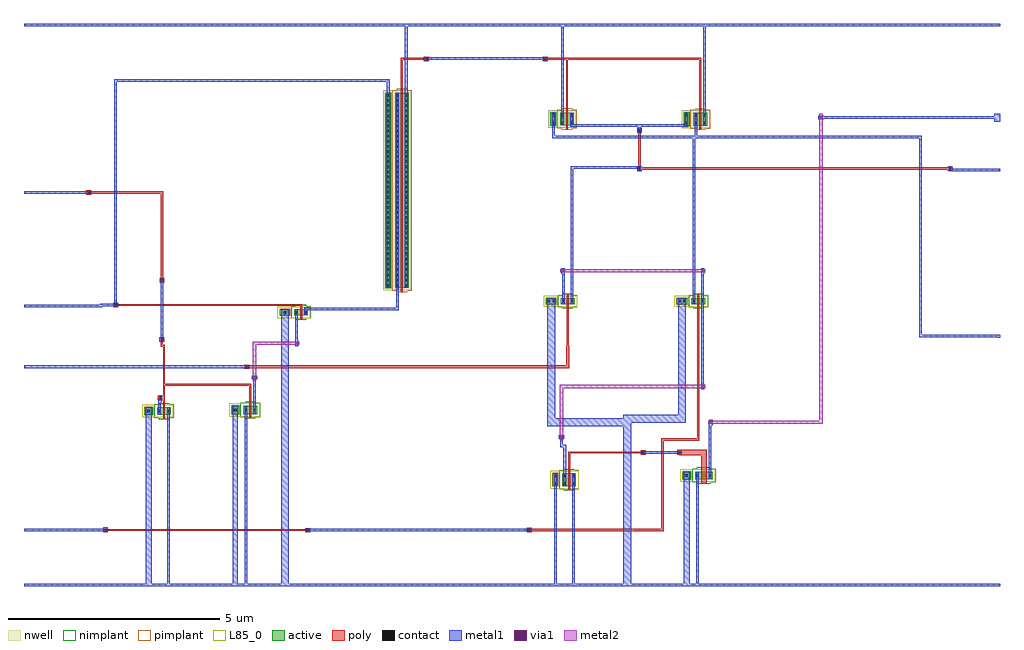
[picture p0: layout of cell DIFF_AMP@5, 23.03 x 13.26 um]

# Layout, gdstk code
import gdstk
lib = gdstk.Library(unit=1e-6, precision=5e-10)
def R(c, l, rs):  # rectangles x0, y0, x1, y1
    for r in rs: c.add(gdstk.rectangle(r[:2], r[2:], *l))
def A(c, l, x, y, w, h, nx, ny, dx, dy):  # array of equal rectangles
    R(c, l, [(x+i*dx, y+j*dy, x+i*dx+w, y+j*dy+h) for i in range(nx) for j in range(ny)])
active = (1, 0)
nwell = (2, 0)
poly = (3, 0)
nimplant = (4, 0)
pimplant = (5, 0)
contact = (6, 0)
metal1 = (7, 0)
via1 = (8, 0)
metal2 = (9, 0)
L85_0 = (85, 0)

nmos1v_cdns_787421419580 = lib.new_cell('nmos1v_CDNS_787421419580')
R(nmos1v_cdns_787421419580, active, [(-0.36,0,-0.24,0.3), (-0.14,0,0,0.3), (0,0,0.045,0.3), (0.045,0,0.185,0.3)])
R(nmos1v_cdns_787421419580, poly, [(0,-0.1,0.045,-0.05), (0,-0.05,0.045,0), (0,0,0.045,0.3), (0,0.3,0.045,0.35), (0,0.35,0.045,0.4)])
R(nmos1v_cdns_787421419580, nimplant, [(-0.1,-0.1,0.145,0.4), (-0.21,-0.07,0.255,0.37)])
R(nmos1v_cdns_787421419580, pimplant, [(-0.37,-0.01,-0.23,0.31)])
R(nmos1v_cdns_787421419580, contact, [(-0.33,0.03,-0.27,0.09), (-0.11,0.03,-0.05,0.09), (0.095,0.03,0.155,0.09), (-0.33,0.21,-0.27,0.27), (-0.11,0.21,-0.05,0.27), (0.095,0.21,0.155,0.27)])
R(nmos1v_cdns_787421419580, metal1, [(-0.33,0,-0.27,0.3), (-0.11,0,-0.05,0.3), (0.095,0,0.155,0.3)])
R(nmos1v_cdns_787421419580, L85_0, [(-0.42,-0.06,0.245,0.36)])

nmos1v_cdns_787421419581 = lib.new_cell('nmos1v_CDNS_787421419581')
R(nmos1v_cdns_787421419581, active, [(-0.485,0,-0.24,0.145), (-0.14,0,0,0.145), (0,0,0.045,0.145), (0.045,0,0.185,0.145)])
R(nmos1v_cdns_787421419581, poly, [(0,-0.1,0.045,-0.05), (0,-0.05,0.045,0), (0,0,0.045,0.145), (0,0.145,0.045,0.195), (0,0.195,0.045,0.245)])
R(nmos1v_cdns_787421419581, nimplant, [(-0.1,-0.1,0.145,0.245), (-0.21,-0.07,0.255,0.215)])
R(nmos1v_cdns_787421419581, pimplant, [(-0.495,-0.01,-0.23,0.155)])
R(nmos1v_cdns_787421419581, contact, [(-0.455,0.045,-0.395,0.105), (-0.33,0.045,-0.27,0.105), (-0.11,0.045,-0.05,0.105), (0.095,0.045,0.155,0.105)])
R(nmos1v_cdns_787421419581, metal1, [(-0.455,0,-0.27,0.145), (-0.11,0,-0.05,0.145), (0.095,0,0.155,0.145)])
R(nmos1v_cdns_787421419581, L85_0, [(-0.545,-0.06,0.245,0.205)])

nmos1v_cdns_787421419582 = lib.new_cell('nmos1v_CDNS_787421419582')
R(nmos1v_cdns_787421419582, active, [(-0.415,0,-0.24,0.2), (-0.14,0,0,0.2), (0,0,0.045,0.2), (0.045,0,0.185,0.2)])
R(nmos1v_cdns_787421419582, poly, [(0,-0.1,0.045,-0.05), (0,-0.05,0.045,0), (0,0,0.045,0.2), (0,0.2,0.045,0.25), (0,0.25,0.045,0.3)])
R(nmos1v_cdns_787421419582, nimplant, [(-0.1,-0.1,0.145,0.3), (-0.21,-0.07,0.255,0.27)])
R(nmos1v_cdns_787421419582, pimplant, [(-0.425,-0.01,-0.23,0.21)])
R(nmos1v_cdns_787421419582, contact, [(-0.36,0.07,-0.3,0.13), (-0.11,0.07,-0.05,0.13), (0.095,0.07,0.155,0.13)])
R(nmos1v_cdns_787421419582, metal1, [(-0.385,0,-0.27,0.2), (-0.11,0,-0.05,0.2), (0.095,0,0.155,0.2)])
R(nmos1v_cdns_787421419582, L85_0, [(-0.475,-0.06,0.245,0.26)])

nmos1v_cdns_787421419583 = lib.new_cell('nmos1v_CDNS_787421419583')
R(nmos1v_cdns_787421419583, active, [(-0.475,0,-0.24,0.15), (-0.14,0,0,0.15), (0,0,0.045,0.15), (0.045,0,0.185,0.15)])
R(nmos1v_cdns_787421419583, poly, [(0,-0.1,0.045,-0.05), (0,-0.05,0.045,0), (0,0,0.045,0.15), (0,0.15,0.045,0.2), (0,0.2,0.045,0.25)])
R(nmos1v_cdns_787421419583, nimplant, [(-0.1,-0.1,0.145,0.25), (-0.21,-0.07,0.255,0.22)])
R(nmos1v_cdns_787421419583, pimplant, [(-0.485,-0.01,-0.23,0.16)])
R(nmos1v_cdns_787421419583, contact, [(-0.39,0.045,-0.33,0.105), (-0.11,0.045,-0.05,0.105), (0.095,0.045,0.155,0.105)])
R(nmos1v_cdns_787421419583, metal1, [(-0.445,0,-0.27,0.15), (-0.11,0,-0.05,0.15), (0.095,0,0.155,0.15)])
R(nmos1v_cdns_787421419583, L85_0, [(-0.535,-0.06,0.245,0.21)])

nmos1v_cdns_787421419584 = lib.new_cell('nmos1v_CDNS_787421419584')
R(nmos1v_cdns_787421419584, active, [(-0.435,0,-0.24,0.18), (-0.14,0,0,0.18), (0,0,0.135,0.18), (0.135,0,0.275,0.18)])
R(nmos1v_cdns_787421419584, poly, [(0,-0.1,0.135,-0.05), (0,-0.05,0.135,0), (0,0,0.135,0.18), (0,0.18,0.135,0.23), (0,0.23,0.135,0.28)])
R(nmos1v_cdns_787421419584, nimplant, [(-0.1,-0.1,0.235,0.28), (-0.21,-0.07,0.345,0.25)])
R(nmos1v_cdns_787421419584, pimplant, [(-0.445,-0.01,-0.23,0.19)])
R(nmos1v_cdns_787421419584, contact, [(-0.37,0.06,-0.31,0.12), (-0.11,0.06,-0.05,0.12), (0.185,0.06,0.245,0.12)])
R(nmos1v_cdns_787421419584, metal1, [(-0.405,0,-0.27,0.18), (-0.11,0,-0.05,0.18), (0.185,0,0.245,0.18)])
R(nmos1v_cdns_787421419584, L85_0, [(-0.495,-0.06,0.335,0.24)])

nmos1v_cdns_787421419585 = lib.new_cell('nmos1v_CDNS_787421419585')
R(nmos1v_cdns_787421419585, active, [(-0.435,0,-0.24,0.18), (-0.14,0,0,0.18), (0,0,0.045,0.18), (0.045,0,0.185,0.18)])
R(nmos1v_cdns_787421419585, poly, [(0,-0.1,0.045,-0.05), (0,-0.05,0.045,0), (0,0,0.045,0.18), (0,0.18,0.045,0.23), (0,0.23,0.045,0.28)])
R(nmos1v_cdns_787421419585, nimplant, [(-0.1,-0.1,0.145,0.28), (-0.21,-0.07,0.255,0.25)])
R(nmos1v_cdns_787421419585, pimplant, [(-0.445,-0.01,-0.23,0.19)])
R(nmos1v_cdns_787421419585, contact, [(-0.37,0.06,-0.31,0.12), (-0.11,0.06,-0.05,0.12), (0.095,0.06,0.155,0.12)])
R(nmos1v_cdns_787421419585, metal1, [(-0.405,0,-0.27,0.18), (-0.11,0,-0.05,0.18), (0.095,0,0.155,0.18)])
R(nmos1v_cdns_787421419585, L85_0, [(-0.495,-0.06,0.245,0.24)])

pmos1v_cdns_787421419586 = lib.new_cell('pmos1v_CDNS_787421419586')
R(pmos1v_cdns_787421419586, active, [(-0.36,0,-0.24,4.6), (-0.14,0,0,4.6), (0,0,0.045,4.6), (0.045,0,0.185,4.6)])
R(pmos1v_cdns_787421419586, nwell, [(-0.42,-0.06,0.245,4.66)])
R(pmos1v_cdns_787421419586, poly, [(0,-0.1,0.045,-0.05), (0,-0.05,0.045,0), (0,0,0.045,4.6), (0,4.6,0.045,4.65), (0,4.65,0.045,4.7)])
R(pmos1v_cdns_787421419586, nimplant, [(-0.37,-0.01,-0.23,4.61)])
R(pmos1v_cdns_787421419586, pimplant, [(-0.1,-0.1,0.145,4.7), (-0.21,-0.07,0.255,4.67)])
A(pmos1v_cdns_787421419586, contact, -0.33, 0.03, 0.06, 0.06, 1, 9, 0, 0.125)
A(pmos1v_cdns_787421419586, contact, -0.11, 0.03, 0.06, 0.06, 1, 9, 0, 0.125)
A(pmos1v_cdns_787421419586, contact, 0.095, 0.03, 0.06, 0.06, 1, 9, 0, 0.125)
A(pmos1v_cdns_787421419586, contact, -0.33, 1.15, 0.06, 0.06, 1, 29, 0, 0.12)
A(pmos1v_cdns_787421419586, contact, -0.11, 1.15, 0.06, 0.06, 1, 29, 0, 0.12)
A(pmos1v_cdns_787421419586, contact, 0.095, 1.15, 0.06, 0.06, 1, 29, 0, 0.12)
R(pmos1v_cdns_787421419586, metal1, [(-0.33,0,-0.27,4.6), (-0.11,0,-0.05,4.6), (0.095,0,0.155,4.6)])

pmos1v_cdns_787421419587 = lib.new_cell('pmos1v_CDNS_787421419587')
R(pmos1v_cdns_787421419587, active, [(-0.36,0,-0.24,0.3), (-0.14,0,0,0.3), (0,0,0.045,0.3), (0.045,0,0.185,0.3)])
R(pmos1v_cdns_787421419587, nwell, [(-0.42,-0.06,0.245,0.36)])
R(pmos1v_cdns_787421419587, poly, [(0,-0.1,0.045,-0.05), (0,-0.05,0.045,0), (0,0,0.045,0.3), (0,0.3,0.045,0.35), (0,0.35,0.045,0.4)])
R(pmos1v_cdns_787421419587, nimplant, [(-0.37,-0.01,-0.23,0.31)])
R(pmos1v_cdns_787421419587, pimplant, [(-0.1,-0.1,0.145,0.4), (-0.21,-0.07,0.255,0.37)])
R(pmos1v_cdns_787421419587, contact, [(-0.33,0.03,-0.27,0.09), (-0.11,0.03,-0.05,0.09), (0.095,0.03,0.155,0.09), (-0.33,0.21,-0.27,0.27), (-0.11,0.21,-0.05,0.27), (0.095,0.21,0.155,0.27)])
R(pmos1v_cdns_787421419587, metal1, [(-0.33,0,-0.27,0.3), (-0.11,0,-0.05,0.3), (0.095,0,0.155,0.3)])

m1_po_cdns_787421419580 = lib.new_cell('M1_PO_CDNS_787421419580')
R(m1_po_cdns_787421419580, poly, [(-0.05,-0.06,0.05,0.06)])
R(m1_po_cdns_787421419580, contact, [(-0.03,-0.03,0.03,0.03)])
R(m1_po_cdns_787421419580, metal1, [(-0.03,-0.06,0.03,0.06)])

m1_po_cdns_787421419581 = lib.new_cell('M1_PO_CDNS_787421419581')
R(m1_po_cdns_787421419581, poly, [(-0.06,-0.05,0.06,0.05)])
R(m1_po_cdns_787421419581, contact, [(-0.03,-0.03,0.03,0.03)])
R(m1_po_cdns_787421419581, metal1, [(-0.03,-0.06,0.03,0.06)])

m1_po_cdns_787421419582 = lib.new_cell('M1_PO_CDNS_787421419582')
R(m1_po_cdns_787421419582, poly, [(-0.05,-0.06,0.05,0.06)])
R(m1_po_cdns_787421419582, contact, [(-0.03,-0.03,0.03,0.03)])
R(m1_po_cdns_787421419582, metal1, [(-0.06,-0.03,0.06,0.03)])

m1_po_cdns_787421419583 = lib.new_cell('M1_PO_CDNS_787421419583')
R(m1_po_cdns_787421419583, poly, [(-0.06,-0.05,0.06,0.05)])
R(m1_po_cdns_787421419583, contact, [(-0.03,-0.03,0.03,0.03)])
R(m1_po_cdns_787421419583, metal1, [(-0.06,-0.03,0.06,0.03)])

m1_po_cdns_787421419584 = lib.new_cell('M1_PO_CDNS_787421419584')
R(m1_po_cdns_787421419584, poly, [(-0.055,-0.06,0.045,0.06)])
R(m1_po_cdns_787421419584, contact, [(-0.035,-0.03,0.025,0.03)])
R(m1_po_cdns_787421419584, metal1, [(-0.065,-0.03,0.055,0.03)])

m1_po_cdns_787421419585 = lib.new_cell('M1_PO_CDNS_787421419585')
R(m1_po_cdns_787421419585, poly, [(-0.06,-0.055,0.06,0.045)])
R(m1_po_cdns_787421419585, contact, [(-0.03,-0.035,0.03,0.025)])
R(m1_po_cdns_787421419585, metal1, [(-0.06,-0.035,0.06,0.03)])

m2_m1_cdns_787421419586 = lib.new_cell('M2_M1_CDNS_787421419586')
R(m2_m1_cdns_787421419586, metal1, [(-0.065,-0.04,0.065,0.04)])
R(m2_m1_cdns_787421419586, via1, [(-0.035,-0.035,0.035,0.035)])
R(m2_m1_cdns_787421419586, metal2, [(-0.04,-0.065,0.04,0.065)])

m2_m1_cdns_787421419587 = lib.new_cell('M2_M1_CDNS_787421419587')
R(m2_m1_cdns_787421419587, metal1, [(-0.04,-0.065,0.04,0.065)])
R(m2_m1_cdns_787421419587, via1, [(-0.035,-0.035,0.035,0.035)])
R(m2_m1_cdns_787421419587, metal2, [(-0.065,-0.04,0.065,0.04)])

diff_amp_5 = lib.new_cell('DIFF_AMP@5')
R(diff_amp_5, metal1, [(0,0,23.03,0.06), (0,1.295,0.06,1.355), (0,5.145,0.06,5.205), (22.97,5.87,23.03,5.93), (0,6.575,0.06,6.635), (0,9.255,0.06,9.315), (22.97,9.79,23.03,9.85), (22.895,10.955,23.03,11.15), (0,13.205,23.03,13.265)])
diff_amp_5.add(gdstk.FlexPath([(8.9175,12.4425),(9.495,12.4425)], 0.045, ends=(0.0225, 0), simple_path=True, layer=3, datatype=0))  # poly
diff_amp_5.add(gdstk.FlexPath([(8.9175,11.735),(8.9175,12.4425)], 0.045, ends=(0, 0.0225), simple_path=True, layer=3, datatype=0))  # poly
diff_amp_5.add(gdstk.FlexPath([(16.0425,2.8),(16.0425,3.1525)], 0.135, ends=(0, 0.0675), simple_path=True, layer=3, datatype=0))  # poly
diff_amp_5.add(gdstk.FlexPath([(16.0425,3.1525),(15.465,3.1525)], 0.135, ends=(0.0675, 0), simple_path=True, layer=3, datatype=0))  # poly
diff_amp_5.add(gdstk.FlexPath([(12.8625,3.1525),(14.61,3.1525)], 0.045, ends=(0.0225, 0), simple_path=True, layer=3, datatype=0))  # poly
diff_amp_5.add(gdstk.FlexPath([(12.8625,2.76),(12.8625,3.1525)], 0.045, ends=(0, 0.0225), simple_path=True, layer=3, datatype=0))  # poly
diff_amp_5.add(gdstk.FlexPath([(3.3025,4.32),(3.3025,4.44)], 0.045, ends=(0, 0.03), simple_path=True, layer=3, datatype=0))  # poly
diff_amp_5.add(gdstk.FlexPath([(3.2,4.44),(3.3025,4.44)], 0.06, ends=(0, 0.0225), simple_path=True, layer=3, datatype=0))  # poly
diff_amp_5.add(gdstk.FlexPath([(3.3025,4.44),(3.3025,4.7475)], 0.045, ends=(0.03, 0.0225), simple_path=True, layer=3, datatype=0))  # poly
diff_amp_5.add(gdstk.FlexPath([(5.3375,4.7475),(3.3025,4.7475)], 0.045, ends="extended", simple_path=True, layer=3, datatype=0))  # poly
diff_amp_5.add(gdstk.FlexPath([(5.3375,4.355),(5.3375,4.7475)], 0.045, ends=(0, 0.0225), simple_path=True, layer=3, datatype=0))  # poly
diff_amp_5.add(gdstk.FlexPath([(3.2525,5.6675),(3.2525,5.82)], 0.045, ends=(0.0225, 0), simple_path=True, layer=3, datatype=0))  # poly
diff_amp_5.add(gdstk.FlexPath([(3.3025,5.6675),(3.2525,5.6675)], 0.045, ends="extended", simple_path=True, layer=3, datatype=0))  # poly
diff_amp_5.add(gdstk.FlexPath([(3.3025,4.7475),(3.3025,5.6675)], 0.045, ends="extended", simple_path=True, layer=3, datatype=0))  # poly
diff_amp_5.add(gdstk.FlexPath([(3.255,7.215),(3.255,9.285)], 0.06, ends=(0, 0.03), simple_path=True, layer=3, datatype=0))  # poly
diff_amp_5.add(gdstk.FlexPath([(3.255,9.285),(1.53,9.285)], 0.06, ends=(0.03, 0), simple_path=True, layer=3, datatype=0))  # poly
diff_amp_5.add(gdstk.FlexPath([(1.925,1.3225),(6.695,1.3225)], 0.045, ends="flush", simple_path=True, layer=3, datatype=0))  # poly
diff_amp_5.add(gdstk.FlexPath([(15.9125,3.46),(15.065,3.46)], 0.06, ends=(0.0225, 0.03), simple_path=True, layer=3, datatype=0))  # poly
diff_amp_5.add(gdstk.FlexPath([(15.065,1.325),(11.92,1.325)], 0.06, ends=(0.03, 0), simple_path=True, layer=3, datatype=0))  # poly
diff_amp_5.add(gdstk.FlexPath([(15.065,3.46),(15.065,1.325)], 0.06, ends="extended", simple_path=True, layer=3, datatype=0))  # poly
diff_amp_5.add(gdstk.FlexPath([(15.9125,6.55),(15.9125,3.46)], 0.045, ends=(0, 0.03), simple_path=True, layer=3, datatype=0))  # poly
diff_amp_5.add(gdstk.FlexPath([(12.8275,6.55),(12.8275,5.67)], 0.045, ends="flush", simple_path=True, layer=3, datatype=0))  # poly
diff_amp_5.add(gdstk.FlexPath([(12.83,5.67),(12.83,5.175)], 0.06, ends=(0, 0.03), simple_path=True, layer=3, datatype=0))  # poly
diff_amp_5.add(gdstk.FlexPath([(12.83,5.175),(5.26,5.175)], 0.06, ends=(0.03, 0), simple_path=True, layer=3, datatype=0))  # poly
diff_amp_5.add(gdstk.FlexPath([(2.165,6.6325),(6.54,6.6325)], 0.045, ends=(0, 0.02), simple_path=True, layer=3, datatype=0))  # poly
diff_amp_5.add(gdstk.FlexPath([(15.9575,12.4425),(12.8125,12.4425)], 0.045, ends="extended", simple_path=True, layer=3, datatype=0))  # poly
diff_amp_5.add(gdstk.FlexPath([(15.9575,11.265),(15.9575,12.4425)], 0.045, ends=(0, 0.0225), simple_path=True, layer=3, datatype=0))  # poly
diff_amp_5.add(gdstk.FlexPath([(12.8125,12.4425),(12.8125,11.27)], 0.045, ends=(0.0225, 0), simple_path=True, layer=3, datatype=0))  # poly
diff_amp_5.add(gdstk.FlexPath([(12.8125,12.4425),(12.295,12.4425)], 0.045, ends=(0.0225, 0), simple_path=True, layer=3, datatype=0))  # poly
diff_amp_5.add(gdstk.FlexPath([(14.525,9.85),(14.525,10.755)], 0.06, ends="flush", simple_path=True, layer=3, datatype=0))  # poly
diff_amp_5.add(gdstk.FlexPath([(21.855,9.85),(14.525,9.85)], 0.06, ends=(0, 0.03), simple_path=True, layer=3, datatype=0))  # poly
diff_amp_5.add(gdstk.FlexPath([(2.16,6.635),(2.165,6.635)], 0.06, ends=(0.03, 0), simple_path=True, layer=7, datatype=0))  # metal1
diff_amp_5.add(gdstk.FlexPath([(2.16,6.925),(2.16,6.635)], 0.06, ends="extended", simple_path=True, layer=7, datatype=0))  # metal1
diff_amp_5.add(gdstk.FlexPath([(1.82,6.635),(2.16,6.635)], 0.06, ends="extended", simple_path=True, layer=7, datatype=0))  # metal1
diff_amp_5.add(gdstk.FlexPath([(1.82,6.605),(1.82,6.635)], 0.06, ends="extended", simple_path=True, layer=7, datatype=0))  # metal1
diff_amp_5.add(gdstk.FlexPath([(2.16,6.925),(2.17,6.925)], 0.06, ends=(0.03, 0), simple_path=True, layer=7, datatype=0))  # metal1
diff_amp_5.add(gdstk.FlexPath([(3.225,4.44),(3.22,4.44)], 0.06, ends=(0.03, 0), simple_path=True, layer=7, datatype=0))  # metal1
diff_amp_5.add(gdstk.FlexPath([(3.225,4.37),(3.225,4.44)], 0.06, ends="extended", simple_path=True, layer=7, datatype=0))  # metal1
diff_amp_5.add(gdstk.FlexPath([(3.2,4.37),(3.225,4.37)], 0.06, ends="extended", simple_path=True, layer=7, datatype=0))  # metal1
diff_amp_5.add(gdstk.FlexPath([(12.685,3.305),(12.685,3.515)], 0.06, ends=(0.03, 0), simple_path=True, layer=7, datatype=0))  # metal1
diff_amp_5.add(gdstk.FlexPath([(12.76,3.305),(12.685,3.305)], 0.06, ends="extended", simple_path=True, layer=7, datatype=0))  # metal1
diff_amp_5.add(gdstk.FlexPath([(12.76,2.66),(12.76,3.305)], 0.06, ends=(0, 0.03), simple_path=True, layer=7, datatype=0))  # metal1
diff_amp_5.add(gdstk.FlexPath([(16.015,4.71),(16.015,6.65)], 0.06, ends="flush", simple_path=True, layer=7, datatype=0))  # metal1
diff_amp_5.add(gdstk.FlexPath([(12.725,7.44),(12.715,7.44)], 0.06, ends=(0.03, 0), simple_path=True, layer=7, datatype=0))  # metal1
diff_amp_5.add(gdstk.FlexPath([(12.725,6.795),(12.725,7.44)], 0.06, ends=(0, 0.03), simple_path=True, layer=7, datatype=0))  # metal1
diff_amp_5.add(gdstk.FlexPath([(16.015,7.44),(16.015,6.795)], 0.06, ends="flush", simple_path=True, layer=7, datatype=0))  # metal1
diff_amp_5.add(gdstk.FlexPath([(5.44,4.255),(5.44,4.92)], 0.06, ends="flush", simple_path=True, layer=7, datatype=0))  # metal1
diff_amp_5.add(gdstk.FlexPath([(6.435,5.73),(6.435,6.385)], 0.06, ends="flush", simple_path=True, layer=7, datatype=0))  # metal1
diff_amp_5.add(gdstk.FlexPath([(8.815,6.535),(8.815,7.035)], 0.06, ends=(0.03, 0), simple_path=True, layer=7, datatype=0))  # metal1
diff_amp_5.add(gdstk.FlexPath([(16.19,3.865),(16.17,3.865)], 0.06, ends=(0.03, 0), simple_path=True, layer=7, datatype=0))  # metal1
diff_amp_5.add(gdstk.FlexPath([(16.19,2.7),(16.19,3.865)], 0.06, ends=(0, 0.03), simple_path=True, layer=7, datatype=0))  # metal1
diff_amp_5.add(gdstk.FlexPath([(22.895,11.055),(18.805,11.055)], 0.06, ends="flush", simple_path=True, layer=7, datatype=0))  # metal1
diff_amp_5.add(gdstk.FlexPath([(14.61,3.155),(15.465,3.155)], 0.06, ends="flush", simple_path=True, layer=7, datatype=0))  # metal1
diff_amp_5.add(gdstk.FlexPath([(3.2,4.22),(3.2,4.37)], 0.06, ends=(0, 0.03), simple_path=True, layer=7, datatype=0))  # metal1
diff_amp_5.add(gdstk.FlexPath([(3.255,5.82),(3.255,7.215)], 0.06, ends="flush", simple_path=True, layer=7, datatype=0))  # metal1
diff_amp_5.add(gdstk.FlexPath([(1.53,9.285),(0.03,9.285)], 0.06, ends="flush", simple_path=True, layer=7, datatype=0))  # metal1
diff_amp_5.add(gdstk.FlexPath([(11.92,1.325),(6.695,1.325)], 0.06, ends="flush", simple_path=True, layer=7, datatype=0))  # metal1
diff_amp_5.add(gdstk.FlexPath([(0.06,1.325),(1.925,1.325)], 0.06, ends="flush", simple_path=True, layer=7, datatype=0))  # metal1
diff_amp_5.add(gdstk.FlexPath([(5.26,5.175),(0.06,5.175)], 0.06, ends="flush", simple_path=True, layer=7, datatype=0))  # metal1
diff_amp_5.add(gdstk.FlexPath([(12.49,10.6),(15.81,10.6)], 0.06, ends="extended", simple_path=True, layer=7, datatype=0))  # metal1
diff_amp_5.add(gdstk.FlexPath([(15.81,6.795),(15.81,10.6)], 0.06, ends=(0, 0.03), simple_path=True, layer=7, datatype=0))  # metal1
diff_amp_5.add(gdstk.FlexPath([(23,5.9),(23,5.855)], 0.06, ends=(0.03, 0), simple_path=True, layer=7, datatype=0))  # metal1
diff_amp_5.add(gdstk.FlexPath([(21.15,5.9),(23,5.9)], 0.06, ends="extended", simple_path=True, layer=7, datatype=0))  # metal1
diff_amp_5.add(gdstk.FlexPath([(21.15,10.6),(21.15,5.9)], 0.06, ends="extended", simple_path=True, layer=7, datatype=0))  # metal1
diff_amp_5.add(gdstk.FlexPath([(15.855,10.6),(21.15,10.6)], 0.06, ends="extended", simple_path=True, layer=7, datatype=0))  # metal1
diff_amp_5.add(gdstk.FlexPath([(14.525,9.88),(14.525,9.85)], 0.06, ends=(0.03, 0), simple_path=True, layer=7, datatype=0))  # metal1
diff_amp_5.add(gdstk.FlexPath([(12.93,9.88),(14.525,9.88)], 0.06, ends="extended", simple_path=True, layer=7, datatype=0))  # metal1
diff_amp_5.add(gdstk.FlexPath([(12.93,6.795),(12.93,9.88)], 0.06, ends=(0, 0.03), simple_path=True, layer=7, datatype=0))  # metal1
diff_amp_5.add(gdstk.FlexPath([(15.855,10.895),(15.885,10.895)], 0.06, ends=(0.03, 0), simple_path=True, layer=7, datatype=0))  # metal1
diff_amp_5.add(gdstk.FlexPath([(15.855,10.6),(15.855,10.895)], 0.06, ends="extended", simple_path=True, layer=7, datatype=0))  # metal1
diff_amp_5.add(gdstk.FlexPath([(15.81,10.6),(15.855,10.6)], 0.06, ends="extended", simple_path=True, layer=7, datatype=0))  # metal1
diff_amp_5.add(gdstk.FlexPath([(12.49,10.87),(12.49,10.6)], 0.06, ends=(0, 0.03), simple_path=True, layer=7, datatype=0))  # metal1
diff_amp_5.add(gdstk.FlexPath([(23,9.82),(21.855,9.82)], 0.06, ends=(0, 0.03), simple_path=True, layer=7, datatype=0))  # metal1
diff_amp_5.add(gdstk.FlexPath([(21.855,9.82),(21.855,9.85)], 0.06, ends=(0.03, 0), simple_path=True, layer=7, datatype=0))  # metal1
diff_amp_5.add(gdstk.FlexPath([(12.915,10.87),(14.525,10.87)], 0.06, ends="extended", simple_path=True, layer=7, datatype=0))  # metal1
diff_amp_5.add(gdstk.FlexPath([(8.595,11.635),(8.595,11.925)], 0.06, ends=(0, 0.03), simple_path=True, layer=7, datatype=0))  # metal1
diff_amp_5.add(gdstk.FlexPath([(8.595,11.925),(2.16,11.925)], 0.06, ends="extended", simple_path=True, layer=7, datatype=0))  # metal1
diff_amp_5.add(gdstk.FlexPath([(2.16,11.925),(2.16,6.925)], 0.06, ends="extended", simple_path=True, layer=7, datatype=0))  # metal1
diff_amp_5.add(gdstk.FlexPath([(0.03,6.605),(1.82,6.605)], 0.06, ends="extended", simple_path=True, layer=7, datatype=0))  # metal1
diff_amp_5.add(gdstk.FlexPath([(9.495,12.445),(12.295,12.445)], 0.06, ends="flush", simple_path=True, layer=7, datatype=0))  # metal1
diff_amp_5.add(gdstk.FlexPath([(14.525,10.87),(15.665,10.87)], 0.06, ends=(0.03, 0), simple_path=True, layer=7, datatype=0))  # metal1
diff_amp_5.add(gdstk.FlexPath([(14.525,10.755),(14.525,10.87)], 0.06, ends=(0, 0.03), simple_path=True, layer=7, datatype=0))  # metal1
diff_amp_5.add(gdstk.FlexPath([(15.6375,2.52),(15.6375,0.06)], 0.135, ends="flush", simple_path=True, layer=7, datatype=0))  # metal1
diff_amp_5.add(gdstk.FlexPath([(6.1575,6.385),(6.1575,0.06)], 0.175, ends="flush", simple_path=True, layer=7, datatype=0))  # metal1
diff_amp_5.add(gdstk.FlexPath([(2.9425,4.04),(2.9425,0.06)], 0.135, ends="flush", simple_path=True, layer=7, datatype=0))  # metal1
diff_amp_5.add(gdstk.FlexPath([(4.9875,4.055),(4.9875,0.06)], 0.115, ends="flush", simple_path=True, layer=7, datatype=0))  # metal1
diff_amp_5.add(gdstk.FlexPath([(12.54,2.36),(12.54,0.06)], 0.06, ends="flush", simple_path=True, layer=7, datatype=0))  # metal1
diff_amp_5.add(gdstk.FlexPath([(3.405,4.04),(3.405,0.06)], 0.06, ends="flush", simple_path=True, layer=7, datatype=0))  # metal1
diff_amp_5.add(gdstk.FlexPath([(14.2325,3.8625),(14.2325,0.06)], 0.185, ends=(0.0925, 0), simple_path=True, layer=7, datatype=0))  # metal1
diff_amp_5.add(gdstk.FlexPath([(12.4425,6.65),(12.4425,3.8625)], 0.185, ends=(0, 0.0925), simple_path=True, layer=7, datatype=0))  # metal1
diff_amp_5.add(gdstk.FlexPath([(14.2325,3.9475),(14.2325,3.8625)], 0.185, ends="extended", simple_path=True, layer=7, datatype=0))  # metal1
diff_amp_5.add(gdstk.FlexPath([(12.4425,3.8625),(14.2325,3.8625)], 0.185, ends="extended", simple_path=True, layer=7, datatype=0))  # metal1
diff_amp_5.add(gdstk.FlexPath([(5.235,4.055),(5.235,0.005)], 0.06, ends="flush", simple_path=True, layer=7, datatype=0))  # metal1
diff_amp_5.add(gdstk.FlexPath([(15.895,2.52),(15.895,0.06)], 0.06, ends="flush", simple_path=True, layer=7, datatype=0))  # metal1
diff_amp_5.add(gdstk.FlexPath([(15.5275,3.9475),(14.2325,3.9475)], 0.185, ends="extended", simple_path=True, layer=7, datatype=0))  # metal1
diff_amp_5.add(gdstk.FlexPath([(15.5275,6.65),(15.5275,3.9475)], 0.185, ends=(0, 0.0925), simple_path=True, layer=7, datatype=0))  # metal1
diff_amp_5.add(gdstk.FlexPath([(12.965,2.36),(12.965,0.06)], 0.06, ends="flush", simple_path=True, layer=7, datatype=0))  # metal1
diff_amp_5.add(gdstk.FlexPath([(16.06,11.165),(16.06,13.205)], 0.06, ends="flush", simple_path=True, layer=7, datatype=0))  # metal1
diff_amp_5.add(gdstk.FlexPath([(12.71,11.17),(12.71,13.205)], 0.06, ends="flush", simple_path=True, layer=7, datatype=0))  # metal1
diff_amp_5.add(gdstk.FlexPath([(9.02,11.635),(9.02,13.205)], 0.06, ends="flush", simple_path=True, layer=7, datatype=0))  # metal1
diff_amp_5.add(gdstk.FlexPath([(6.64,6.535),(8.815,6.535)], 0.06, ends="extended", simple_path=True, layer=7, datatype=0))  # metal1
diff_amp_5.add(gdstk.FlexPath([(12.685,3.515),(12.685,4.71)], 0.08, ends=(0, 0.04), simple_path=True, layer=9, datatype=0))  # metal2
diff_amp_5.add(gdstk.FlexPath([(12.685,4.71),(16.015,4.71)], 0.08, ends=(0.04, 0), simple_path=True, layer=9, datatype=0))  # metal2
diff_amp_5.add(gdstk.FlexPath([(12.715,7.44),(16.015,7.44)], 0.08, ends="flush", simple_path=True, layer=9, datatype=0))  # metal2
diff_amp_5.add(gdstk.FlexPath([(5.44,4.92),(5.44,5.73)], 0.08, ends=(0, 0.04), simple_path=True, layer=9, datatype=0))  # metal2
diff_amp_5.add(gdstk.FlexPath([(5.44,5.73),(6.435,5.73)], 0.08, ends=(0.04, 0), simple_path=True, layer=9, datatype=0))  # metal2
diff_amp_5.add(gdstk.FlexPath([(18.805,3.865),(16.17,3.865)], 0.08, ends=(0.04, 0), simple_path=True, layer=9, datatype=0))  # metal2
diff_amp_5.add(gdstk.FlexPath([(18.805,11.0525),(18.805,3.865)], 0.08, ends=(0.0975, 0.04), simple_path=True, layer=9, datatype=0))  # metal2
diff_amp_5.add(gdstk.Reference(nmos1v_cdns_787421419580, (12.84,2.36)))
diff_amp_5.add(gdstk.Reference(nmos1v_cdns_787421419581, (12.805,6.65)))
diff_amp_5.add(gdstk.Reference(nmos1v_cdns_787421419581, (15.89,6.65)))
diff_amp_5.add(gdstk.Reference(nmos1v_cdns_787421419582, (5.315,4.055)))
diff_amp_5.add(gdstk.Reference(nmos1v_cdns_787421419583, (6.515,6.385)))
diff_amp_5.add(gdstk.Reference(nmos1v_cdns_787421419584, (15.975,2.52)))
diff_amp_5.add(gdstk.Reference(nmos1v_cdns_787421419585, (3.28,4.04)))
diff_amp_5.add(gdstk.Reference(pmos1v_cdns_787421419586, (8.895,7.035)))
diff_amp_5.add(gdstk.Reference(pmos1v_cdns_787421419587, (12.79,10.87)))
diff_amp_5.add(gdstk.Reference(pmos1v_cdns_787421419587, (15.935,10.865)))
diff_amp_5.add(gdstk.Reference(m1_po_cdns_787421419580, (3.255,7.215)))
diff_amp_5.add(gdstk.Reference(m1_po_cdns_787421419580, (14.525,10.755)))
diff_amp_5.add(gdstk.Reference(m1_po_cdns_787421419580, (14.525,9.85)))
diff_amp_5.add(gdstk.Reference(m1_po_cdns_787421419581, (3.22,4.44)))
diff_amp_5.add(gdstk.Reference(m1_po_cdns_787421419581, (3.255,5.82)))
diff_amp_5.add(gdstk.Reference(m1_po_cdns_787421419581, (21.855,9.85)))
diff_amp_5.add(gdstk.Reference(m1_po_cdns_787421419582, (1.925,1.325)))
diff_amp_5.add(gdstk.Reference(m1_po_cdns_787421419583, (11.92,1.325)))
diff_amp_5.add(gdstk.Reference(m1_po_cdns_787421419583, (1.53,9.285)))
diff_amp_5.add(gdstk.Reference(m1_po_cdns_787421419583, (5.26,5.175)))
diff_amp_5.add(gdstk.Reference(m1_po_cdns_787421419584, (15.465,3.155)))
diff_amp_5.add(gdstk.Reference(m1_po_cdns_787421419585, (12.295,12.445)))
diff_amp_5.add(gdstk.Reference(m1_po_cdns_787421419585, (9.495,12.445)))
diff_amp_5.add(gdstk.Reference(m1_po_cdns_787421419585, (6.695,1.325)))
diff_amp_5.add(gdstk.Reference(m1_po_cdns_787421419585, (14.61,3.155)))
diff_amp_5.add(gdstk.Reference(m1_po_cdns_787421419585, (2.165,6.635)))
diff_amp_5.add(gdstk.Reference(m2_m1_cdns_787421419586, (12.685,3.515)))
diff_amp_5.add(gdstk.Reference(m2_m1_cdns_787421419586, (5.44,4.92)))
diff_amp_5.add(gdstk.Reference(m2_m1_cdns_787421419586, (18.805,11.055)))
diff_amp_5.add(gdstk.Reference(m2_m1_cdns_787421419587, (16.015,4.71)))
diff_amp_5.add(gdstk.Reference(m2_m1_cdns_787421419587, (12.715,7.44)))
diff_amp_5.add(gdstk.Reference(m2_m1_cdns_787421419587, (16.015,7.44)))
diff_amp_5.add(gdstk.Reference(m2_m1_cdns_787421419587, (6.435,5.73)))
diff_amp_5.add(gdstk.Reference(m2_m1_cdns_787421419587, (16.21,3.865)))

lib.write_gds('DIFF_AMP_5.gds')
